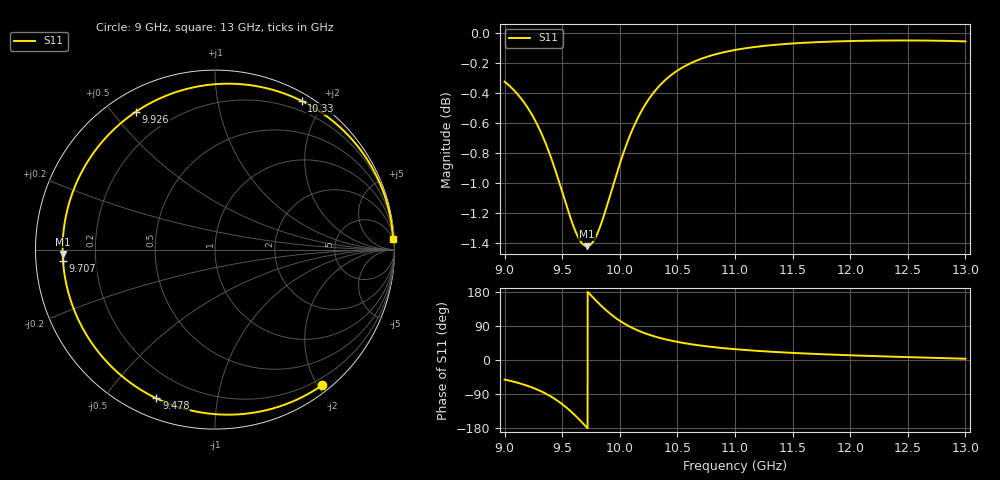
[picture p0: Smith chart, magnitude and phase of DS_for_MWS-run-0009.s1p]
! TOUCHSTONE file generated by CST DESIGN STUDIO
! Date and time: Tue Feb  4 17:16:05 2025
! Project name: C:\Work\MatlabApps\UnitCellOptimizationMatlab\CST\unitcell.cst
! Tree item: Tasks\Sweep1\SPara1\S-Parameters
! Header version: 2024
! Port assignment regex: !\s*Touchstone port\s*([0-9]+)\s*=\s*(CST MWS port|CST DES external port|CST DES block port)\s*(.+)\s* \(\"(.*)\"\)(\s*mode\s*([0-9]+))?.*
! Touchstone port assignment:
! Touchstone port 1 = CST DES external port 1 ("")
# GHz S MA R 50
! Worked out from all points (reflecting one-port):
!   4001 points, 9 GHz to 13 GHz, reference 50 ohm
!   lowest |S11| = -1.4 dB at 9.715 GHz (marker M1), VSWR 12.26, Z = 4.08 - j0.709 ohm
!   phase of S11 starts at -52 deg and turns -305 deg over the sweep
!   S11 on the Smith chart (normalised r, x): 9 GHz: 0.10, -2.07; 9.478 GHz: 0.08, -0.68; 9.707 GHz: 0.08, -0.04; 9.926 GHz: 0.08, +0.58; 10.33 GHz: 0.08, +1.74; 13 GHz: 4, +34
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9  0.9631 -51.6
9.129  0.9523 -61.4
9.251  0.9371 -74.0
9.379  0.914 -92.3
9.431  0.9023 -101.7
9.478  0.8908 -111.5
9.5  0.8853 -116.5
9.549  0.8732 -128.6
9.597  0.8624 -141.8
9.655  0.8529 -159.3
9.707  0.8493 -175.8
9.715  0.8492 -178.4
9.76  0.8514 167.2
9.807  0.8578 152.6
9.867  0.8705 135.1
9.926  0.8855 119.9
10  0.9045 103.5
10.073  0.9212 90.3
10.16  0.9373 77.6
10.241  0.949 68.1
10.329  0.9587 59.8
10.5  0.9713 47.8
10.718  0.9805 37.4
11  0.9868 28.5
11.5  0.9917 18.7
12  0.9935 12.4
12.5  0.994 7.6
13  0.9933 3.3
